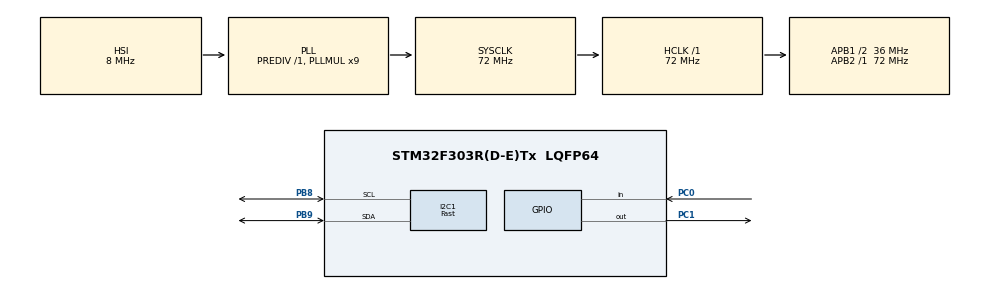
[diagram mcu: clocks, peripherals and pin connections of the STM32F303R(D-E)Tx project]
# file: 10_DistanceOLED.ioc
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I2C1.I2C_Speed_Mode=I2C_Fast
I2C1.Timing=0x0010020A
Mcu.Family=STM32F3
Mcu.Name=STM32F303R(D-E)Tx
Mcu.Package=LQFP64
NVIC.PriorityGroup=NVIC_PRIORITYGROUP_0
PA13.GPIO_Label=TMS
PA13.Mode=Serial_Wire
PA13.Signal=SYS_JTMS-SWDIO
PA14.GPIO_Label=TCK
PA14.Mode=Serial_Wire
PA14.Signal=SYS_JTCK-SWCLK
PA2.GPIO_Label=USART_TX
PA2.GPIO_Mode=GPIO_MODE_AF_PP
PA2.GPIO_PuPd=GPIO_NOPULL
PA2.GPIO_Speed=GPIO_SPEED_FREQ_LOW
PA2.Signal=USART2_TX
PA3.GPIO_Label=USART_RX
PA3.GPIO_Mode=GPIO_MODE_AF_PP
PA3.GPIO_PuPd=GPIO_NOPULL
PA3.GPIO_Speed=GPIO_SPEED_FREQ_LOW
PA3.Signal=USART2_RX
PB3.GPIO_Label=SWO
PB3.Signal=SYS_JTDO-TRACESWO
PB8.Mode=I2C
PB8.Signal=I2C1_SCL
PB9.Mode=I2C
PB9.Signal=I2C1_SDA
PC0.Signal=GPIO_Input
PC1.Signal=GPIO_Output
PC14-OSC32_IN.Signal=RCC_OSC32_IN
PC15-OSC32_OUT.Signal=RCC_OSC32_OUT
PF0-OSC_IN.Mode=HSE-External-Oscillator
PF0-OSC_IN.Signal=RCC_OSC_IN
PF1-OSC_OUT.Mode=HSE-External-Oscillator
PF1-OSC_OUT.Signal=RCC_OSC_OUT
ProjectManager.HeapSize=0x200
ProjectManager.StackSize=0x400
ProjectManager.TargetToolchain=STM32CubeIDE
RCC.AHBFreq_Value=72000000
RCC.APB1CLKDivider=RCC_HCLK_DIV2
RCC.APB1Freq_Value=36000000
RCC.APB1TimFreq_Value=72000000
RCC.APB2Freq_Value=72000000
RCC.APB2TimFreq_Value=72000000
RCC.CortexFreq_Value=72000000
RCC.HCLKFreq_Value=72000000
RCC.HSE_VALUE=8000000
RCC.HSI_VALUE=8000000
RCC.LSE_VALUE=32768
RCC.PLLM=8
RCC.PLLMUL=RCC_PLL_MUL9
RCC.PLLN=336
RCC.PLLP=RCC_PLLP_DIV4
RCC.PLLQ=7
RCC.RCC_PLLsource_Clock_Source_FROM_HSE=RCC_HSE_PREDIV_DIV2
RCC.SYSCLKFreq_VALUE=72000000
RCC.SYSCLKSourceVirtual=RCC_SYSCLKSOURCE_PLLCLK
RCC.USBFreq_Value=72000000
TIM1.Prescaler=71
VP_TIM1_VS_ClockSourceINT.Mode=Internal
board=NUCLEO-F303RE

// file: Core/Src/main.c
/* USER CODE BEGIN Header */
/**
  ******************************************************************************
  * @file           : main.c
  * @brief          : Main program body
  ******************************************************************************
  * @attention
  *
  * Copyright (c) 2026 STMicroelectronics.
  * All rights reserved.
  *
  * This software is licensed under terms that can be found in the LICENSE file
  * in the root directory of this software component.
  * If no LICENSE file comes with this software, it is provided AS-IS.
  *
  ******************************************************************************
  */
/* USER CODE END Header */
#include "main.h"

/* USER CODE BEGIN Includes */
#include "ssd1306_fonts.h"
#include "ssd1306.h"
#include "stdio.h"
/* USER CODE END Includes */

I2C_HandleTypeDef hi2c1;

TIM_HandleTypeDef htim1;

/* USER CODE BEGIN PV */
#define TRIG_PIN GPIO_PIN_1
#define TRIG_PORT GPIOC
#define ECHO_PIN GPIO_PIN_0
#define ECHO_PORT GPIOC
uint32_t pMillis;
uint32_t Value1 = 0;
uint32_t Value2 = 0;
uint16_t Distance  = 0;  // cm
char strCopy[15];
/* USER CODE END PV */

void SystemClock_Config(void);
static void MX_GPIO_Init(void);
static void MX_I2C1_Init(void);
static void MX_TIM1_Init(void);

int main(void)
{

  /* MCU Configuration--------------------------------------------------------*/

  /* Reset of all peripherals, Initializes the Flash interface and the Systick. */
  HAL_Init();

  /* Configure the system clock */
  SystemClock_Config();

  /* Initialize all configured peripherals */
  MX_GPIO_Init();
  MX_I2C1_Init();
  MX_TIM1_Init();
  /* USER CODE BEGIN 2 */
  HAL_TIM_Base_Start(&htim1);
  HAL_GPIO_WritePin(TRIG_PORT, TRIG_PIN, GPIO_PIN_RESET);  // pull the TRIG pin low
  ssd1306_Init();
  ssd1306_Fill(Black);
  ssd1306_UpdateScreen();

  ssd1306_SetCursor(20, 5);
  ssd1306_WriteString("TENSOR", Font_11x18, White);
  ssd1306_SetCursor(20, 30);
  ssd1306_WriteString("ACADEMY", Font_11x18, White);

       /* Update screen */
  ssd1306_UpdateScreen();
  /* USER CODE END 2 */

  /* Infinite loop */
  while (1)
  {

    /* USER CODE BEGIN 3 */
	HAL_GPIO_WritePin(TRIG_PORT, TRIG_PIN, GPIO_PIN_SET);  // pull the TRIG pin HIGH
	__HAL_TIM_SET_COUNTER(&htim1, 0);
	while (__HAL_TIM_GET_COUNTER (&htim1) < 10);  // wait for 10 us
	HAL_GPIO_WritePin(TRIG_PORT, TRIG_PIN, GPIO_PIN_RESET);  // pull the TRIG pin low

	pMillis = HAL_GetTick(); // used this to avoid infinite while loop  (for timeout)
	// wait for the echo pin to go high
	while (!(HAL_GPIO_ReadPin (ECHO_PORT, ECHO_PIN)) && pMillis + 10 >  HAL_GetTick());
	Value1 = __HAL_TIM_GET_COUNTER (&htim1);

	pMillis = HAL_GetTick(); // used this to avoid infinite while loop (for timeout)
	// wait for the echo pin to go low
	while ((HAL_GPIO_ReadPin (ECHO_PORT, ECHO_PIN)) && pMillis + 50 > HAL_GetTick());
	Value2 = __HAL_TIM_GET_COUNTER (&htim1);

	Distance = (Value2-Value1)* 0.034/2;

	ssd1306_Fill(Black);
	ssd1306_UpdateScreen();
	ssd1306_SetCursor(20, 5);
	ssd1306_WriteString("Distance:", Font_11x18, White);
	sprintf(strCopy,"%d", Distance);
	ssd1306_SetCursor(50, 30);
	ssd1306_WriteString(strCopy, Font_11x18, White);
	ssd1306_UpdateScreen();
	HAL_Delay(50);
  }
  /* USER CODE END 3 */
}

void SystemClock_Config(void)
{
  RCC_OscInitTypeDef RCC_OscInitStruct = {0};
  RCC_ClkInitTypeDef RCC_ClkInitStruct = {0};
  RCC_PeriphCLKInitTypeDef PeriphClkInit = {0};

  /** Initializes the RCC Oscillators according to the specified parameters
  * in the RCC_OscInitTypeDef structure.
  */
  RCC_OscInitStruct.OscillatorType = RCC_OSCILLATORTYPE_HSI;
  RCC_OscInitStruct.HSIState = RCC_HSI_ON;
  RCC_OscInitStruct.HSICalibrationValue = RCC_HSICALIBRATION_DEFAULT;
  RCC_OscInitStruct.PLL.PLLState = RCC_PLL_ON;
  RCC_OscInitStruct.PLL.PLLSource = RCC_PLLSOURCE_HSI;
  RCC_OscInitStruct.PLL.PLLMUL = RCC_PLL_MUL9;
  RCC_OscInitStruct.PLL.PREDIV = RCC_PREDIV_DIV1;
  if (HAL_RCC_OscConfig(&RCC_OscInitStruct) != HAL_OK)
  {
    Error_Handler();
  }

  /** Initializes the CPU, AHB and APB buses clocks
  */
  RCC_ClkInitStruct.ClockType = RCC_CLOCKTYPE_HCLK|RCC_CLOCKTYPE_SYSCLK
                              |RCC_CLOCKTYPE_PCLK1|RCC_CLOCKTYPE_PCLK2;
  RCC_ClkInitStruct.SYSCLKSource = RCC_SYSCLKSOURCE_PLLCLK;
  RCC_ClkInitStruct.AHBCLKDivider = RCC_SYSCLK_DIV1;
  RCC_ClkInitStruct.APB1CLKDivider = RCC_HCLK_DIV2;
  RCC_ClkInitStruct.APB2CLKDivider = RCC_HCLK_DIV1;

  if (HAL_RCC_ClockConfig(&RCC_ClkInitStruct, FLASH_LATENCY_2) != HAL_OK)
  {
    Error_Handler();
  }
  PeriphClkInit.PeriphClockSelection = RCC_PERIPHCLK_I2C1|RCC_PERIPHCLK_TIM1;
  PeriphClkInit.I2c1ClockSelection = RCC_I2C1CLKSOURCE_HSI;
  PeriphClkInit.Tim1ClockSelection = RCC_TIM1CLK_HCLK;
  if (HAL_RCCEx_PeriphCLKConfig(&PeriphClkInit) != HAL_OK)
  {
    Error_Handler();
  }
}

static void MX_I2C1_Init(void)
{

  hi2c1.Instance = I2C1;
  hi2c1.Init.Timing = 0x0010020A;
  hi2c1.Init.OwnAddress1 = 0;
  hi2c1.Init.AddressingMode = I2C_ADDRESSINGMODE_7BIT;
  hi2c1.Init.DualAddressMode = I2C_DUALADDRESS_DISABLE;
  hi2c1.Init.OwnAddress2 = 0;
  hi2c1.Init.OwnAddress2Masks = I2C_OA2_NOMASK;
  hi2c1.Init.GeneralCallMode = I2C_GENERALCALL_DISABLE;
  hi2c1.Init.NoStretchMode = I2C_NOSTRETCH_DISABLE;
  if (HAL_I2C_Init(&hi2c1) != HAL_OK)
  {
    Error_Handler();
  }

  /** Configure Analogue filter
  */
  if (HAL_I2CEx_ConfigAnalogFilter(&hi2c1, I2C_ANALOGFILTER_ENABLE) != HAL_OK)
  {
    Error_Handler();
  }

  /** Configure Digital filter
  */
  if (HAL_I2CEx_ConfigDigitalFilter(&hi2c1, 0) != HAL_OK)
  {
    Error_Handler();
  }

}

static void MX_TIM1_Init(void)
{

  TIM_ClockConfigTypeDef sClockSourceConfig = {0};
  TIM_MasterConfigTypeDef sMasterConfig = {0};

  htim1.Instance = TIM1;
  htim1.Init.Prescaler = 71;
  htim1.Init.CounterMode = TIM_COUNTERMODE_UP;
  htim1.Init.Period = 65535;
  htim1.Init.ClockDivision = TIM_CLOCKDIVISION_DIV1;
  htim1.Init.RepetitionCounter = 0;
  htim1.Init.AutoReloadPreload = TIM_AUTORELOAD_PRELOAD_DISABLE;
  if (HAL_TIM_Base_Init(&htim1) != HAL_OK)
  {
    Error_Handler();
  }
  sClockSourceConfig.ClockSource = TIM_CLOCKSOURCE_INTERNAL;
  if (HAL_TIM_ConfigClockSource(&htim1, &sClockSourceConfig) != HAL_OK)
  {
    Error_Handler();
  }
  sMasterConfig.MasterOutputTrigger = TIM_TRGO_RESET;
  sMasterConfig.MasterOutputTrigger2 = TIM_TRGO2_RESET;
  sMasterConfig.MasterSlaveMode = TIM_MASTERSLAVEMODE_DISABLE;
  if (HAL_TIMEx_MasterConfigSynchronization(&htim1, &sMasterConfig) != HAL_OK)
  {
    Error_Handler();
  }

}

static void MX_GPIO_Init(void)
{
  GPIO_InitTypeDef GPIO_InitStruct = {0};

  /* GPIO Ports Clock Enable */
  __HAL_RCC_GPIOC_CLK_ENABLE();
  __HAL_RCC_GPIOF_CLK_ENABLE();
  __HAL_RCC_GPIOA_CLK_ENABLE();
  __HAL_RCC_GPIOB_CLK_ENABLE();

  /*Configure GPIO pin Output Level */
  HAL_GPIO_WritePin(GPIOC, GPIO_PIN_1, GPIO_PIN_RESET);

  /*Configure GPIO pin : PC0 */
  GPIO_InitStruct.Pin = GPIO_PIN_0;
  GPIO_InitStruct.Mode = GPIO_MODE_INPUT;
  GPIO_InitStruct.Pull = GPIO_NOPULL;
  HAL_GPIO_Init(GPIOC, &GPIO_InitStruct);

  /*Configure GPIO pin : PC1 */
  GPIO_InitStruct.Pin = GPIO_PIN_1;
  GPIO_InitStruct.Mode = GPIO_MODE_OUTPUT_PP;
  GPIO_InitStruct.Pull = GPIO_NOPULL;
  GPIO_InitStruct.Speed = GPIO_SPEED_FREQ_LOW;
  HAL_GPIO_Init(GPIOC, &GPIO_InitStruct);

  /*Configure GPIO pins : USART_TX_Pin USART_RX_Pin */
  GPIO_InitStruct.Pin = USART_TX_Pin|USART_RX_Pin;
  GPIO_InitStruct.Mode = GPIO_MODE_AF_PP;
  GPIO_InitStruct.Pull = GPIO_NOPULL;
  GPIO_InitStruct.Speed = GPIO_SPEED_FREQ_LOW;
  GPIO_InitStruct.Alternate = GPIO_AF7_USART2;
  HAL_GPIO_Init(GPIOA, &GPIO_InitStruct);

}

void Error_Handler(void)
{
  __disable_irq();
  while (1)
  {
  }
}
